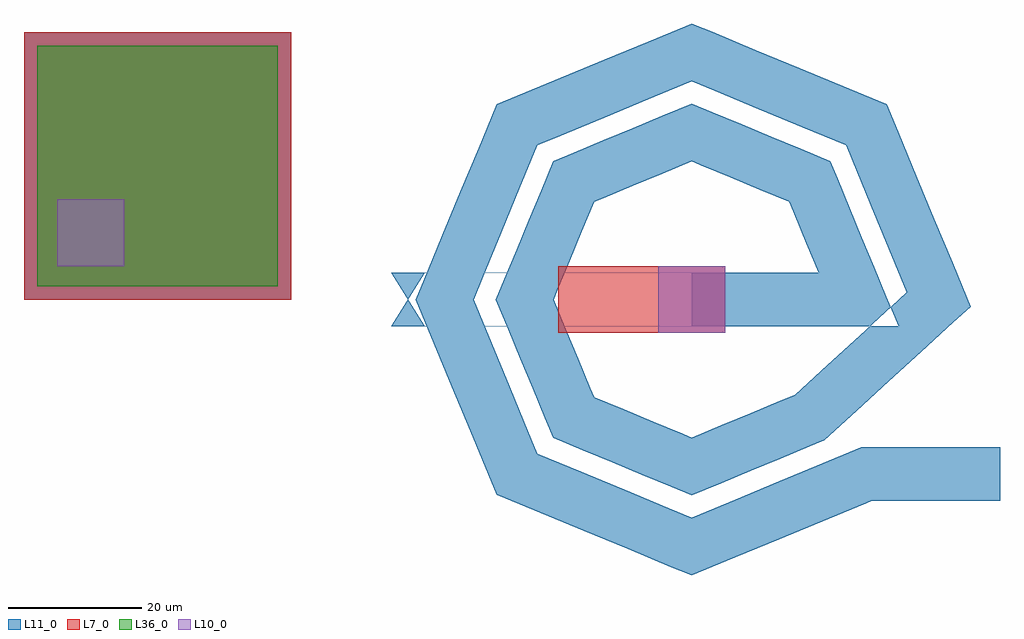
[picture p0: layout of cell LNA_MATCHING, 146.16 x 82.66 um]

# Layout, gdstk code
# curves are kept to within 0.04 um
import gdstk
lib = gdstk.Library(unit=1e-6, precision=1e-09)
def R(c, l, rs):  # rectangles x0, y0, x1, y1
    for r in rs: c.add(gdstk.rectangle(r[:2], r[2:], *l))
def P(c, l, *ps):  # polygons
    for p in ps: c.add(gdstk.Polygon(p, *l))
L7_0 = (7, 0)
L10_0 = (10, 0)
L11_0 = (11, 0)
L36_0 = (36, 0)

lna_matching = lib.new_cell('LNA_MATCHING')
R(lna_matching, L7_0, [(-20,-5,5,5), (-100,0,-60,40)])
R(lna_matching, L10_0, [(-5,-5,5,5), (-95,5,-85,15)])
R(lna_matching, L11_0, [(-100,0,-60,40)])
P(lna_matching, L11_0, [(-11.25,4),(-45,4),(-40,-4),(30.986,-4),(20.739,20.739),(0,29.33),(-20.739,20.739),(-29.33,0),(-20.739,-20.739),(0,-29.33),(19.859,-21.104),(41.768,-1.059),(29.224,29.224),(0,41.33),(-29.224,29.224),(-41.33,0),(-29.224,-29.224),(0,-41.33),(26.959,-30.163),(46.163,-30.163),(46.163,-22.163),(25.367,-22.163),(0,-32.67),(-23.101,-23.101),(-32.67,0),(-23.101,23.101),(0,32.67),(23.101,23.101),(32.232,1.059),(15.497,-14.251),(0,-20.67),(-14.616,-14.616),(-20.67,0),(-16.447,10.197),(-14.616,14.616),(0,20.67),(14.616,14.616),(19.014,4),(-40,4),(-45,-4),(0,-4),(0,4)])
R(lna_matching, L36_0, [(-98,2,-62,38)])

lib.write_gds('LNA_MATCHING.gds')
